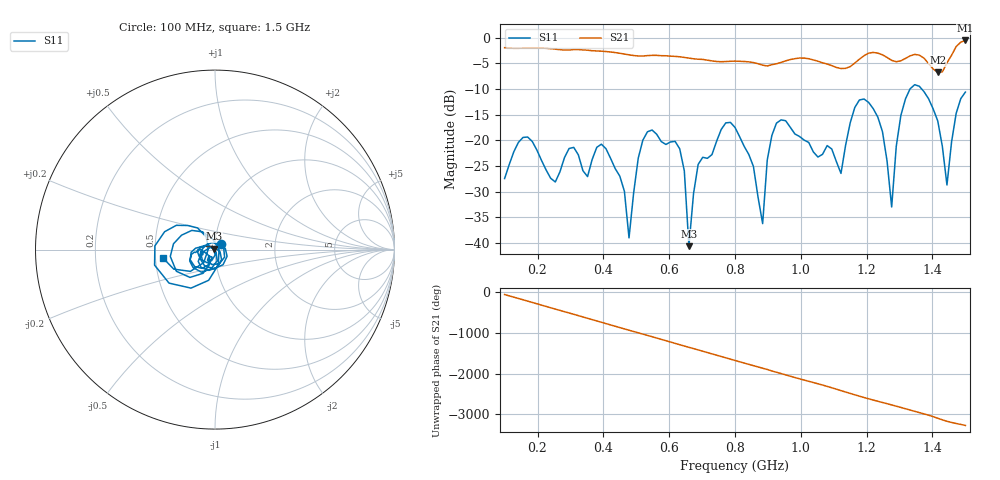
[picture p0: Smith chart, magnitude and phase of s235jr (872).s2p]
! NanoVNA-App
! Date: 2025-09-25 15:10:57
! Start: 100MHz Stop: 1,5GHz Points: 101
! S-Parameter data: F S11 S21 S12 S22
# Hz S RI R 50
!  Frequency  S11_Real  S11_Imag  S21_Real  S21_Imag  S12_Real  S12_Imag  S22_Real  S22_Imag
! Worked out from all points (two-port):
!   101 points, 100 MHz to 1.5 GHz, reference 50 ohm
!   highest |S21| = -0.56 dB at 1.5 GHz (marker M1); lowest = -6.8 dB at 1.416 GHz (marker M2)
!   |S21| within 3 dB of the highest: start of sweep to 502.3 MHz; 525.2 MHz to 593.3 MHz (68.02 MHz wide, 12.2 % of centre) (the widest 2 of 5)
!   lowest |S11| = -40.6 dB at 660 MHz (marker M3), VSWR 1.02, Z = 49.3 + j0.55 ohm
!   |S11| at or under -10 dB: start of sweep to 1.332 GHz; 1.367 GHz to end of sweep
!   S12 and S22 are empty: the file has one direction only
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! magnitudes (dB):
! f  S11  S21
! 100 MHz  -27.5  -2.0
! 156 MHz  -19.5  -2.0
! 338 MHz  -25.9  -2.4
! 408 MHz  -21.7  -2.7
! 478 MHz  -39.0  -3.4
! 520 MHz  -20.0  -3.6
! 576 MHz  -20.3  -3.5
! 632 MHz  -21.7  -3.7
! 660 MHz  -40.6  -4.0
! 688 MHz  -24.7  -4.2
! 800 MHz  -17.5  -4.6
! 884 MHz  -36.3  -5.4
! 926 MHz  -16.7  -5.1
! 1.038 GHz  -22.3  -4.4
! 1.122 GHz  -26.5  -6.0
! 1.192 GHz  -12.0  -3.5
! 1.248 GHz  -18.3  -3.3
! 1.276 GHz  -33.0  -4.4
! 1.332 GHz  -10.0  -3.6
! 1.416 GHz  -16.2  -6.8
! 1.444 GHz  -28.7  -4.9
! 1.5 GHz  -10.6  -0.6
